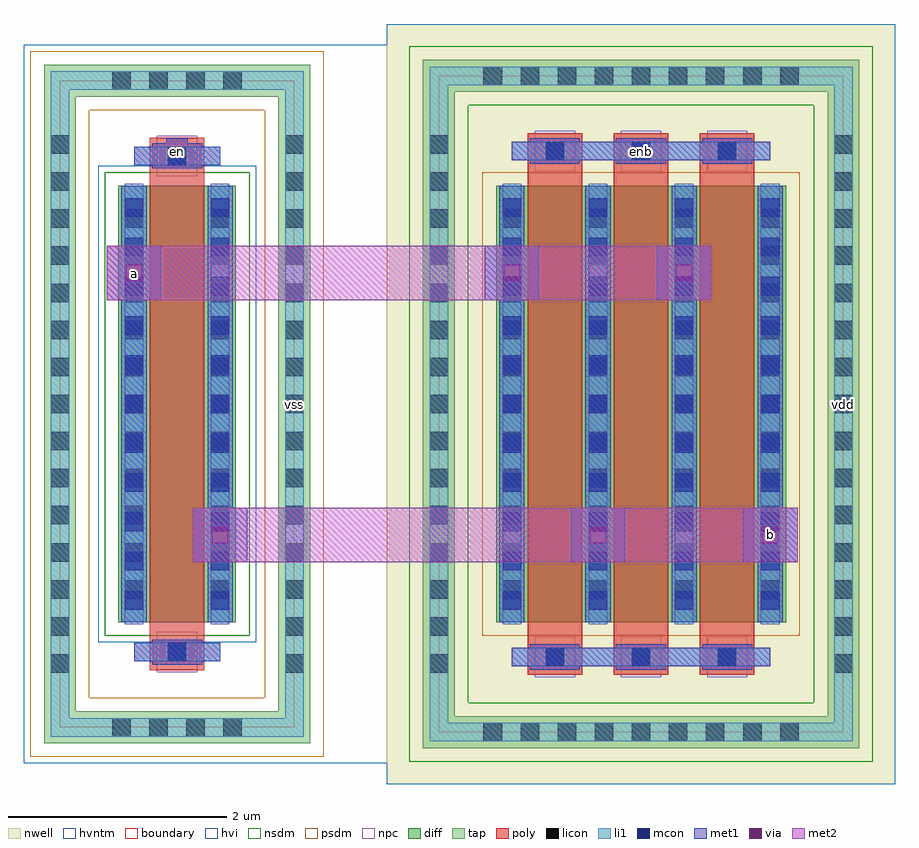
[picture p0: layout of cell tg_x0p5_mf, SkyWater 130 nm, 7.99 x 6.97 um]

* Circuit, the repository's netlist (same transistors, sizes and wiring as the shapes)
* Schematic of the transmission gate, same devices and sizes as v2/sim/v2.py tg() at TG scale 0.5 (nfet 4/0.5, pfet 12/0.5, one device each, nf=1 as simulated)
.subckt tg_x0p5_mf a b en enb vdd vss
XMN a en b vss sky130_fd_pr__nfet_g5v0d10v5 w=4 l=0.5 nf=1
XMP a enb b vdd sky130_fd_pr__pfet_g5v0d10v5 w=12 l=0.5 nf=1
.ends

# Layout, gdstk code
import gdstk
lib = gdstk.Library(unit=1e-6, precision=1e-09)
def R(c, l, rs):  # rectangles x0, y0, x1, y1
    for r in rs: c.add(gdstk.rectangle(r[:2], r[2:], *l))
def A(c, l, x, y, w, h, nx, ny, dx, dy):  # array of equal rectangles
    R(c, l, [(x+i*dx, y+j*dy, x+i*dx+w, y+j*dy+h) for i in range(nx) for j in range(ny)])
nwell = (64, 20)
diff = (65, 20)
tap = (65, 44)
poly = (66, 20)
licon = (66, 44)
li1 = (67, 20)
mcon = (67, 44)
met1 = (68, 20)
via = (68, 44)
met2 = (69, 20)
hvi = (75, 20)
nsdm = (93, 44)
psdm = (94, 20)
npc = (95, 20)
hvntm = (125, 20)
boundary = (235, 4)

sky130_fd_pr__pfet_g5v0d = lib.new_cell('sky130_fd_pr__pfet_g5v0d10v5_2GJDY8')
R(sky130_fd_pr__pfet_g5v0d, nwell, [(-2.33,-3.485,2.33,3.485)])
R(sky130_fd_pr__pfet_g5v0d, diff, [(-1.33,-2,1.33,2)])
R(sky130_fd_pr__pfet_g5v0d, tap, [(-2,-3.155,2,-2.865), (-2,-2.865,-1.71,2.865), (1.71,-2.865,2,2.865), (-2,2.865,2,3.155)])
A(sky130_fd_pr__pfet_g5v0d, poly, -1.04, -2.485, 0.5, 4.97, 3, 1, 0.79, 0)
A(sky130_fd_pr__pfet_g5v0d, licon, -1.445, -3.095, 0.17, 0.17, 9, 2, 0.34, 6.02)
A(sky130_fd_pr__pfet_g5v0d, licon, -1.94, -2.465, 0.17, 0.17, 1, 15, 0, 0.34)
A(sky130_fd_pr__pfet_g5v0d, licon, 1.77, -2.465, 0.17, 0.17, 1, 15, 0, 0.34)
A(sky130_fd_pr__pfet_g5v0d, licon, -0.875, -2.405, 0.17, 0.17, 3, 2, 0.79, 4.64)
A(sky130_fd_pr__pfet_g5v0d, licon, -1.27, -1.785, 0.17, 0.17, 4, 11, 0.79, 0.34)
A(sky130_fd_pr__pfet_g5v0d, li1, -1.27, -2.02, 0.17, 4.04, 4, 1, 0.79, 0)
R(sky130_fd_pr__pfet_g5v0d, li1, [(-1.94,-3.095,1.94,-2.925), (-1.94,-2.925,-1.77,2.925), (1.77,-2.925,1.94,2.925), (-1.185,-2.405,1.185,-2.235), (-1.185,2.235,1.185,2.405), (-1.94,2.925,1.94,3.095)])
A(sky130_fd_pr__pfet_g5v0d, mcon, -0.875, -2.405, 0.17, 0.17, 3, 2, 0.79, 4.64)
A(sky130_fd_pr__pfet_g5v0d, mcon, -1.27, -1.885, 0.17, 0.17, 4, 11, 0.79, 0.36)
A(sky130_fd_pr__pfet_g5v0d, met1, -1.02, -2.435, 0.46, 0.03, 3, 2, 0.79, 0.2)
A(sky130_fd_pr__pfet_g5v0d, met1, -1.3, -2, 0.23, 4, 4, 1, 0.79, 0)
A(sky130_fd_pr__pfet_g5v0d, met1, -1.02, 2.205, 0.46, 0.03, 3, 2, 0.79, 0.2)
R(sky130_fd_pr__pfet_g5v0d, met1, [(-1.185,-2.405,1.185,-2.235), (-1.185,2.235,1.185,2.405)])
R(sky130_fd_pr__pfet_g5v0d, hvi, [(-2.33,-3.485,2.33,3.485)])
R(sky130_fd_pr__pfet_g5v0d, nsdm, [(-2.125,-3.28,2.125,-2.74), (-2.125,-2.74,-1.585,2.74), (1.585,-2.74,2.125,2.74), (-2.125,2.74,2.125,3.28)])
R(sky130_fd_pr__pfet_g5v0d, psdm, [(-1.455,-2.125,1.455,2.125)])
A(sky130_fd_pr__pfet_g5v0d, npc, -0.975, -2.505, 0.37, 0.37, 3, 2, 0.79, 4.64)
R(sky130_fd_pr__pfet_g5v0d, boundary, [(-1.855,-3.01,1.855,3.01)])
sky130_fd_pr__pfet_g5v0d.add(gdstk.Label('B', (0,-3.01), layer=67, texttype=5))
sky130_fd_pr__pfet_g5v0d.add(gdstk.Label('D0', (-1.185,0), layer=67, texttype=5))
sky130_fd_pr__pfet_g5v0d.add(gdstk.Label('G', (0.79,2.32), layer=67, texttype=5))
sky130_fd_pr__pfet_g5v0d.add(gdstk.Label('G', (0,2.32), layer=67, texttype=5))
sky130_fd_pr__pfet_g5v0d.add(gdstk.Label('G', (-0.79,2.32), layer=67, texttype=5))
sky130_fd_pr__pfet_g5v0d.add(gdstk.Label('S1', (-0.395,0), layer=67, texttype=5))
sky130_fd_pr__pfet_g5v0d.add(gdstk.Label('D2', (0.395,0), layer=67, texttype=5))
sky130_fd_pr__pfet_g5v0d.add(gdstk.Label('S2', (1.185,0), layer=67, texttype=5))

sky130_fd_pr__nfet_g5v0d = lib.new_cell('sky130_fd_pr__nfet_g5v0d10v5_NQQZ82')
R(sky130_fd_pr__nfet_g5v0d, diff, [(-0.54,-2,0.54,2)])
R(sky130_fd_pr__nfet_g5v0d, tap, [(-1.22,-3.11,1.22,-2.82), (-1.22,-2.82,-0.93,2.82), (0.93,-2.82,1.22,2.82), (-1.22,2.82,1.22,3.11)])
R(sky130_fd_pr__nfet_g5v0d, poly, [(-0.25,-2.44,0.25,2.44)])
A(sky130_fd_pr__nfet_g5v0d, licon, -0.595, -3.05, 0.17, 0.17, 4, 2, 0.34, 5.93)
A(sky130_fd_pr__nfet_g5v0d, licon, -1.16, -2.465, 0.17, 0.17, 1, 15, 0, 0.34)
A(sky130_fd_pr__nfet_g5v0d, licon, 0.99, -2.465, 0.17, 0.17, 1, 15, 0, 0.34)
A(sky130_fd_pr__nfet_g5v0d, licon, -0.48, -1.785, 0.17, 0.17, 1, 11, 0, 0.34)
A(sky130_fd_pr__nfet_g5v0d, licon, 0.31, -1.785, 0.17, 0.17, 1, 11, 0, 0.34)
R(sky130_fd_pr__nfet_g5v0d, licon, [(-0.085,-2.36,0.085,-2.19), (-0.085,2.19,0.085,2.36)])
R(sky130_fd_pr__nfet_g5v0d, li1, [(-1.16,-3.05,1.16,-2.88), (-1.16,-2.88,-0.99,2.88), (0.99,-2.88,1.16,2.88), (-0.395,-2.36,0.395,-2.19), (-0.48,-2.02,-0.31,2.02), (0.31,-2.02,0.48,2.02), (-0.395,2.19,0.395,2.36), (-1.16,2.88,1.16,3.05)])
A(sky130_fd_pr__nfet_g5v0d, mcon, -0.48, -1.885, 0.17, 0.17, 1, 11, 0, 0.36)
A(sky130_fd_pr__nfet_g5v0d, mcon, 0.31, -1.885, 0.17, 0.17, 1, 11, 0, 0.36)
R(sky130_fd_pr__nfet_g5v0d, mcon, [(-0.085,-2.36,0.085,-2.19), (-0.085,2.19,0.085,2.36)])
R(sky130_fd_pr__nfet_g5v0d, met1, [(-0.23,-2.39,0.23,-2.36), (-0.395,-2.36,0.395,-2.19), (-0.23,-2.19,0.23,-2.16), (-0.51,-2,-0.28,2), (0.28,-2,0.51,2), (-0.23,2.16,0.23,2.19), (-0.395,2.19,0.395,2.36), (-0.23,2.36,0.23,2.39)])
R(sky130_fd_pr__nfet_g5v0d, hvi, [(-1.405,-3.295,1.405,3.295)])
R(sky130_fd_pr__nfet_g5v0d, nsdm, [(-0.665,-2.125,0.665,2.125)])
R(sky130_fd_pr__nfet_g5v0d, psdm, [(-1.345,-3.235,1.345,-2.695), (-1.345,-2.695,-0.805,2.695), (0.805,-2.695,1.345,2.695), (-1.345,2.695,1.345,3.235)])
R(sky130_fd_pr__nfet_g5v0d, npc, [(-0.185,-2.46,0.185,-2.09), (-0.185,2.09,0.185,2.46)])
R(sky130_fd_pr__nfet_g5v0d, hvntm, [(-0.725,-2.185,0.725,2.185)])
R(sky130_fd_pr__nfet_g5v0d, boundary, [(-1.075,-2.965,1.075,2.965)])
sky130_fd_pr__nfet_g5v0d.add(gdstk.Label('B', (0,-2.965), layer=67, texttype=5))
sky130_fd_pr__nfet_g5v0d.add(gdstk.Label('D', (-0.395,0), layer=67, texttype=5))
sky130_fd_pr__nfet_g5v0d.add(gdstk.Label('S', (0.395,0), layer=67, texttype=5))
sky130_fd_pr__nfet_g5v0d.add(gdstk.Label('G', (0,2.275), layer=67, texttype=5))

tg_x0p5_mf = lib.new_cell('tg_x0p5_mf')
R(tg_x0p5_mf, li1, [(2.075,2.765,2.225,3.165), (7.11,2.765,7.26,3.165)])
R(tg_x0p5_mf, met1, [(1.22,1.515,1.72,2.015), (4.685,1.515,5.185,2.015), (6.265,1.515,6.765,2.015), (0.43,3.915,0.93,4.415), (3.895,3.915,4.395,4.415), (5.475,3.915,5.975,4.415), (0.975,5.17,1.175,5.4), (5.23,5.17,5.43,5.4)])
R(tg_x0p5_mf, via, [(1.395,1.69,1.545,1.84), (4.86,1.69,5.01,1.84), (6.44,1.69,6.59,1.84), (0.605,4.09,0.755,4.24), (4.07,4.09,4.22,4.24), (5.65,4.09,5.8,4.24)])
R(tg_x0p5_mf, met2, [(1.22,1.515,6.765,2.015), (0.43,3.915,5.975,4.415)])
R(tg_x0p5_mf, hvi, [(2.48,-0.33,3,6.26)])
tg_x0p5_mf.add(gdstk.Reference(sky130_fd_pr__pfet_g5v0d, (5.33,2.965)))
tg_x0p5_mf.add(gdstk.Reference(sky130_fd_pr__nfet_g5v0d, (1.075,2.965)))
tg_x0p5_mf.add(gdstk.Label('a', (0.68,4.165), layer=69, texttype=5))
tg_x0p5_mf.add(gdstk.Label('b', (6.515,1.765), layer=69, texttype=5))
tg_x0p5_mf.add(gdstk.Label('en', (1.075,5.285), layer=68, texttype=5))
tg_x0p5_mf.add(gdstk.Label('enb', (5.33,5.285), layer=68, texttype=5))
tg_x0p5_mf.add(gdstk.Label('vss', (2.15,2.965), layer=67, texttype=5))
tg_x0p5_mf.add(gdstk.Label('vdd', (7.185,2.965), layer=67, texttype=5))

lib.write_gds('tg_x0p5_mf.gds')
